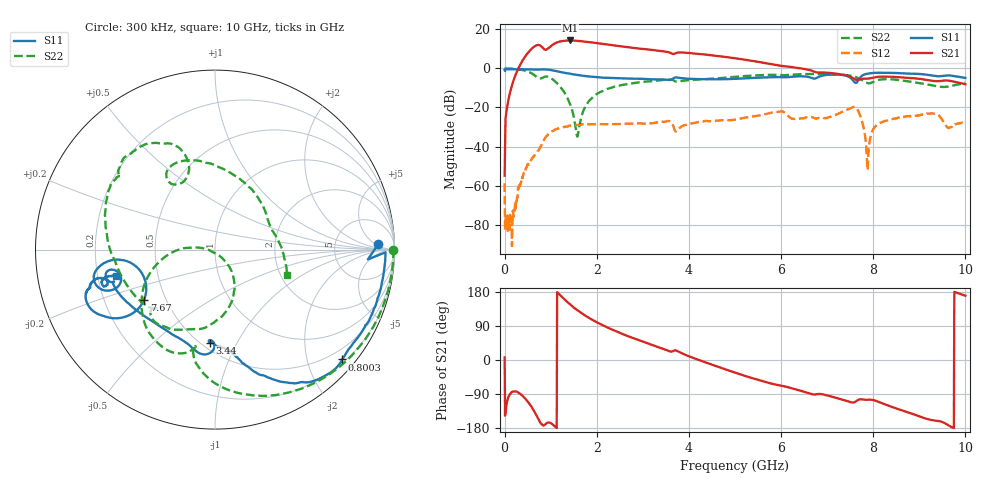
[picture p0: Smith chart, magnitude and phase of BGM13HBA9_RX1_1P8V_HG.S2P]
!Agilent Technologies,E5071C,MY46316587,B.13.01
!Date: Thu Dec 07 13:10:57 2017
!Data & Calibration Information:
!Freq	S11:SOLT2(ON)	S21:SOLT2(ON)	S12:SOLT2(ON)	S22:SOLT2(ON)
!PortZ  Port1:50+j0  Port2:50+j0
!Above PortZ is port z conversion or system Z0 setting when saving the data.
!When reading, reference impedance value at option line is always used.
# Hz S RI R 50
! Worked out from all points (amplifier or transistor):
!   1001 points, 300 kHz to 10 GHz, reference 50 ohm
!   highest |S21| = 14.2 dB at 1.42 GHz (marker M1)
!   |S21| within 3 dB of that: 997.8 MHz to 2.526 GHz (1.528 GHz wide, 86.7 % of centre)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
!   unconditionally stable (mu >= 1): start of sweep to end of sweep
!   at 1.66 GHz: K = 1.63, MAG = 16.7 dB, |S12| = -28.8 dB
!   at 5 GHz: K = 2.24, MAG = 9.4 dB, |S12| = -26.1 dB
!   at 10 GHz: K = 16.36, MAG = -5.5 dB, |S12| = -27.4 dB
!   lowest NFmin = 0.75 dB at 1.8 GHz
!   S11 on the Smith chart (normalised r, x): 300 kHz: 19, +7; 800.3 MHz: 0.27, -2.66; 3.44 GHz: 0.55, -0.78; 7.67 GHz: 0.38, -0.28; 10 GHz: 0.28, -0.12
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300000  0.9102 0.0312  0.0018 0.000218  0.000796 -0.000838  0.994 0.0004
9.02973e7  0.9466 -0.0757  -0.0173 -0.1726  -3.17e-06 -9.6e-05  0.9625 -0.2348
3.702889e8  0.8943 -0.3125  -0.0569 -1.445  -0.00111 -0.000507  0.5047 -0.7656
5.802826e8  0.8092 -0.4707  -1.683 -2.62  -0.00464 -0.000471  0.0157 -0.7541
7.202784e8  0.7425 -0.5577  -3.526 -1.812  -0.00771 -4.09e-05  -0.1217 -0.5634
8.00276e8  0.7083 -0.6118  -3.529 -0.6908  -0.0109 -0.000135  -0.1163 -0.5484
9.102727e8  0.62 -0.6992  -2.951 -0.7017  -0.0179 0.00521  -0.2747 -0.5554
1.050268e9  0.4788 -0.7387  -4.002 -0.66  -0.0195 0.0163  -0.4099 -0.3139
1.220263e9  0.34 -0.7278  -4.814 0.9235  -0.0152 0.0268  -0.3141 -0.0713
1.420257e9  0.2344 -0.6889  -4.306 2.834  -0.00735 0.0337  -0.1225 0.0113
1.570253e9  0.1849 -0.6527  -3.386 3.748  -0.00128 0.0358  -0.0132 -0.0131
1.67025e9  0.1587 -0.6352  -2.722 4.106  0.00197 0.0366  0.0387 -0.046
1.970241e9  0.1088 -0.5878  -0.8931 4.369  0.0111 0.0358  0.1065 -0.1762
2.400228e9  0.0698 -0.5567  0.8896 3.713  0.017 0.0338  0.0688 -0.3356
3.3402e9  -0.0195 -0.5194  2.347 1.563  0.025 0.0337  -0.2035 -0.4458
3.440197e9  -0.0294 -0.5184  2.366 1.343  0.0283 0.0324  -0.2517 -0.4415
5.00015e9  -0.3937 -0.3702  1.514 -0.992  0.0274 0.041  -0.601 0.0751
6.6701e9  -0.5511 -0.118  -0.0063 -0.8646  0.0503 0.0263  -0.4928 0.5226
7.67007e9  -0.3948 -0.279  -0.1351 -0.491  0.0654 -0.0518  -0.1723 0.5362
7.880064e9  -0.6329 -0.3662  -0.1406 -0.5272  0.00222 0.00121  -0.1707 0.383
8.34005e9  -0.7212 -0.2684  -0.3157 -0.5263  0.0361 0.0318  -0.1946 0.4904
1e10  -0.5488 -0.1466  -0.3845 0.0697  0.0426 -0.00298  0.4034 -0.142
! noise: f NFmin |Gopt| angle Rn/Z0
1.8e+09  0.7505  0.4763  60.22  0.1975
1.9e+09  0.7778  0.4514  63.81  0.1926
2e+09  0.8007  0.3713  66.78  0.1993
2.1e+09  0.8205  0.3567  70.7  0.2398
2.2e+09  0.859  0.4759  75.89  0.1573
2.3e+09  0.8832  0.4794  76.91  0.1958
2.4e+09  0.9186  0.4349  78.39  0.1994
2.5e+09  0.9319  0.463  81.85  0.2059
2.6e+09  0.9492  0.4624  82.99  0.2078
2.7e+09  0.9697  0.4767  84.55  0.2118
